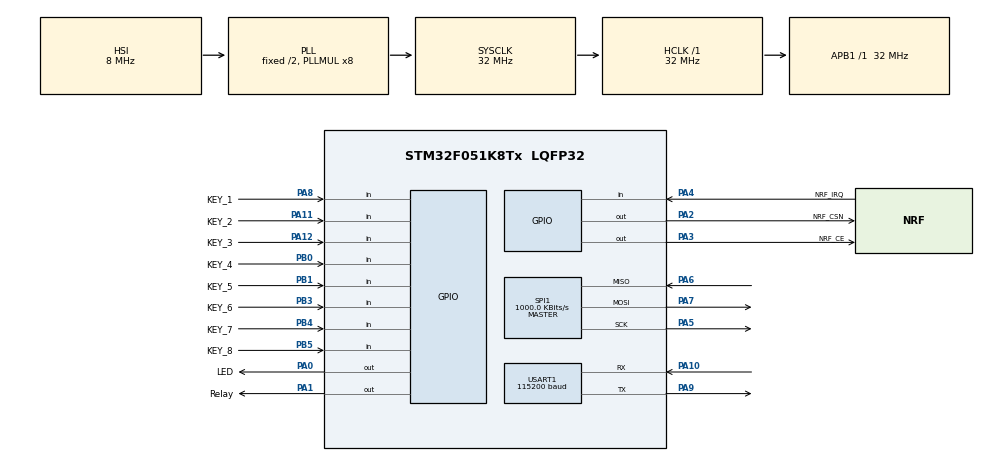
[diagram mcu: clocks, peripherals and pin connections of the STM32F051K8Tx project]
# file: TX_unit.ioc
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Mcu.Family=STM32F0
Mcu.Name=STM32F051K8Tx
Mcu.Package=LQFP32
PA0.GPIO_Label=LED
PA0.GPIO_PuPd=GPIO_PULLUP
PA0.Signal=GPIO_Output
PA1.GPIO_Label=Relay
PA1.GPIO_PuPd=GPIO_PULLUP
PA1.Signal=GPIO_Output
PA10.Mode=Asynchronous
PA10.Signal=USART1_RX
PA11.GPIO_Label=KEY_2
PA11.GPIO_PuPd=GPIO_PULLUP
PA11.Signal=GPIO_Input
PA12.GPIO_Label=KEY_3
PA12.GPIO_PuPd=GPIO_PULLUP
PA12.Signal=GPIO_Input
PA13.Mode=Serial_Wire
PA13.Signal=SYS_SWDIO
PA14.Mode=Serial_Wire
PA14.Signal=SYS_SWCLK
PA2.GPIO_Label=NRF_CSN
PA2.GPIO_PuPd=GPIO_NOPULL
PA2.Signal=GPIO_Output
PA3.GPIO_Label=NRF_CE
PA3.Signal=GPIO_Output
PA4.GPIO_Label=NRF_IRQ
PA4.Signal=GPIO_Input
PA5.Mode=Full_Duplex_Master
PA5.Signal=SPI1_SCK
PA6.Mode=Full_Duplex_Master
PA6.Signal=SPI1_MISO
PA7.Mode=Full_Duplex_Master
PA7.Signal=SPI1_MOSI
PA8.GPIO_Label=KEY_1
PA8.GPIO_PuPd=GPIO_PULLUP
PA8.Signal=GPIO_Input
PA9.Mode=Asynchronous
PA9.Signal=USART1_TX
PB0.GPIO_Label=KEY_4
PB0.GPIO_PuPd=GPIO_PULLUP
PB0.Signal=GPIO_Input
PB1.GPIO_Label=KEY_5
PB1.GPIO_PuPd=GPIO_PULLUP
PB1.Signal=GPIO_Input
PB3.GPIO_Label=KEY_6
PB3.GPIO_PuPd=GPIO_PULLUP
PB3.Signal=GPIO_Input
PB4.GPIO_Label=KEY_7
PB4.GPIO_PuPd=GPIO_PULLUP
PB4.Signal=GPIO_Input
PB5.GPIO_Label=KEY_8
PB5.GPIO_PuPd=GPIO_PULLUP
PB5.Signal=GPIO_Input
ProjectManager.HeapSize=0x200
ProjectManager.StackSize=0x400
ProjectManager.TargetToolchain=STM32CubeIDE
RCC.AHBFreq_Value=32000000
RCC.APB1Freq_Value=32000000
RCC.APB1TimFreq_Value=32000000
RCC.HCLKFreq_Value=32000000
RCC.PLLMUL=RCC_PLL_MUL8
RCC.SYSCLKFreq_VALUE=32000000
RCC.SYSCLKSource=RCC_SYSCLKSOURCE_PLLCLK
SPI1.BaudRatePrescaler=SPI_BAUDRATEPRESCALER_32
SPI1.CalculateBaudRate=1000.0 KBits/s
SPI1.DataSize=SPI_DATASIZE_8BIT
SPI1.Direction=SPI_DIRECTION_2LINES
SPI1.Mode=SPI_MODE_MASTER
SPI1.VirtualType=VM_MASTER
TIM14.Prescaler=31
USART1.BaudRate=115200
USART1.VirtualMode-Asynchronous=VM_ASYNC
VP_TIM14_VS_ClockSourceINT.Mode=Enable_Timer
board=custom

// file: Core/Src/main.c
/* USER CODE BEGIN Header */
/**
  ******************************************************************************
  * @file           : main.c
  * @brief          : Main program body
  ******************************************************************************
  * @attention
  *
  * Copyright (c) 2026 STMicroelectronics.
  * All rights reserved.
  *
  * This software is licensed under terms that can be found in the LICENSE file
  * in the root directory of this software component.
  * If no LICENSE file comes with this software, it is provided AS-IS.
  *
  ******************************************************************************
  */
/* USER CODE END Header */
#include "main.h"

/* USER CODE BEGIN Includes */
#include "nrf24.h"
#include <string.h>
#include "stdio.h"
/* USER CODE END Includes */

SPI_HandleTypeDef hspi1;

TIM_HandleTypeDef htim14;

UART_HandleTypeDef huart1;

/* USER CODE BEGIN PV */
char str1[64]={0};
uint8_t buf1[20]={"ER2SD"};
uint8_t tx_buf[1];
/* USER CODE END PV */

void SystemClock_Config(void);
static void MX_GPIO_Init(void);
static void MX_SPI1_Init(void);
static void MX_USART1_UART_Init(void);
static void MX_TIM14_Init(void);

int main(void)
{

  /* MCU Configuration--------------------------------------------------------*/

  /* Reset of all peripherals, Initializes the Flash interface and the Systick. */
  HAL_Init();

  /* Configure the system clock */
  SystemClock_Config();

  /* Initialize all configured peripherals */
  MX_GPIO_Init();
  MX_SPI1_Init();
  MX_USART1_UART_Init();
  MX_TIM14_Init();
  /* USER CODE BEGIN 2 */
  HAL_TIM_Base_Start(&htim14);
  NRF24_ini();
  /* USER CODE END 2 */

  /* Infinite loop */
  while (1)
  {

    /* USER CODE BEGIN 3 */
  	//HAL_Delay(1000);
  	//NRF24L01_Send(buf1);
  	    // -----------------------------------------
  	    // KEY_1
  	    // -----------------------------------------
  	    if(HAL_GPIO_ReadPin(KEY_1_GPIO_Port,KEY_1_Pin) == GPIO_PIN_RESET)
  	    {
  	        tx_buf[0] = 0x01;
  	        NRF24L01_Send(tx_buf);
  	        HAL_Delay(200);
  	    }
  	    // -----------------------------------------
  	    // KEY_2
  	    // -----------------------------------------
  	    if(HAL_GPIO_ReadPin(KEY_2_GPIO_Port,KEY_2_Pin) == GPIO_PIN_RESET)
  	    {
  	        tx_buf[0] = 0x02;
  	        NRF24L01_Send(tx_buf);
  	        HAL_Delay(200);
  	    }
  	    // -----------------------------------------
  	    // KEY_3
  	    // -----------------------------------------
  	    if(HAL_GPIO_ReadPin(KEY_3_GPIO_Port,KEY_3_Pin) == GPIO_PIN_RESET)
  	    {
  	        tx_buf[0] = 0x03;
  	        NRF24L01_Send(tx_buf);
  	        HAL_Delay(200);
  	    }
  	    // -----------------------------------------
  	    // KEY_4
  	    // -----------------------------------------
  	    if(HAL_GPIO_ReadPin(KEY_4_GPIO_Port,KEY_4_Pin) == GPIO_PIN_RESET)
  	    {
  	        tx_buf[0] = 0x04;
  	        NRF24L01_Send(tx_buf);
  	        HAL_Delay(200);
  	    }
  	    // -----------------------------------------
  	    // KEY_5
  	    // -----------------------------------------
  	    if(HAL_GPIO_ReadPin(KEY_5_GPIO_Port,KEY_5_Pin) == GPIO_PIN_RESET)
  	    {
  	        tx_buf[0] = 0x05;
  	        NRF24L01_Send(tx_buf);
  	        HAL_Delay(200);
  	    }
  	    // -----------------------------------------
  	    // KEY_6
  	    // -----------------------------------------
  	    if(HAL_GPIO_ReadPin(KEY_6_GPIO_Port,KEY_6_Pin) == GPIO_PIN_RESET)
  	    {
  	        tx_buf[0] = 0x06;
  	        NRF24L01_Send(tx_buf);
  	        HAL_Delay(200);
  	    }
  	    // -----------------------------------------
  	    // KEY_7
  	    // -----------------------------------------
  	    if(HAL_GPIO_ReadPin(KEY_7_GPIO_Port,KEY_7_Pin) == GPIO_PIN_RESET)
  	    {
  	        tx_buf[0] = 0x07;
  	        NRF24L01_Send(tx_buf);
  	        HAL_Delay(200);
  	    }
  	    // -----------------------------------------
  	    // KEY_8
  	    // -----------------------------------------
  	    if(HAL_GPIO_ReadPin(KEY_8_GPIO_Port,KEY_8_Pin) == GPIO_PIN_RESET)
  	    {
  	        tx_buf[0] = 0x08;
  	        NRF24L01_Send(tx_buf);
  	        HAL_Delay(200);
  	    }
  }
  /* USER CODE END 3 */
}

void SystemClock_Config(void)
{
  RCC_OscInitTypeDef RCC_OscInitStruct = {0};
  RCC_ClkInitTypeDef RCC_ClkInitStruct = {0};
  RCC_PeriphCLKInitTypeDef PeriphClkInit = {0};

  /** Initializes the RCC Oscillators according to the specified parameters
  * in the RCC_OscInitTypeDef structure.
  */
  RCC_OscInitStruct.OscillatorType = RCC_OSCILLATORTYPE_HSI;
  RCC_OscInitStruct.HSIState = RCC_HSI_ON;
  RCC_OscInitStruct.HSICalibrationValue = RCC_HSICALIBRATION_DEFAULT;
  RCC_OscInitStruct.PLL.PLLState = RCC_PLL_ON;
  RCC_OscInitStruct.PLL.PLLSource = RCC_PLLSOURCE_HSI;
  RCC_OscInitStruct.PLL.PLLMUL = RCC_PLL_MUL8;
  RCC_OscInitStruct.PLL.PREDIV = RCC_PREDIV_DIV1;
  if (HAL_RCC_OscConfig(&RCC_OscInitStruct) != HAL_OK)
  {
    Error_Handler();
  }

  /** Initializes the CPU, AHB and APB buses clocks
  */
  RCC_ClkInitStruct.ClockType = RCC_CLOCKTYPE_HCLK|RCC_CLOCKTYPE_SYSCLK
                              |RCC_CLOCKTYPE_PCLK1;
  RCC_ClkInitStruct.SYSCLKSource = RCC_SYSCLKSOURCE_PLLCLK;
  RCC_ClkInitStruct.AHBCLKDivider = RCC_SYSCLK_DIV1;
  RCC_ClkInitStruct.APB1CLKDivider = RCC_HCLK_DIV1;

  if (HAL_RCC_ClockConfig(&RCC_ClkInitStruct, FLASH_LATENCY_1) != HAL_OK)
  {
    Error_Handler();
  }
  PeriphClkInit.PeriphClockSelection = RCC_PERIPHCLK_USART1;
  PeriphClkInit.Usart1ClockSelection = RCC_USART1CLKSOURCE_PCLK1;
  if (HAL_RCCEx_PeriphCLKConfig(&PeriphClkInit) != HAL_OK)
  {
    Error_Handler();
  }
}

static void MX_SPI1_Init(void)
{

  /* SPI1 parameter configuration*/
  hspi1.Instance = SPI1;
  hspi1.Init.Mode = SPI_MODE_MASTER;
  hspi1.Init.Direction = SPI_DIRECTION_2LINES;
  hspi1.Init.DataSize = SPI_DATASIZE_8BIT;
  hspi1.Init.CLKPolarity = SPI_POLARITY_LOW;
  hspi1.Init.CLKPhase = SPI_PHASE_1EDGE;
  hspi1.Init.NSS = SPI_NSS_SOFT;
  hspi1.Init.BaudRatePrescaler = SPI_BAUDRATEPRESCALER_32;
  hspi1.Init.FirstBit = SPI_FIRSTBIT_MSB;
  hspi1.Init.TIMode = SPI_TIMODE_DISABLE;
  hspi1.Init.CRCCalculation = SPI_CRCCALCULATION_DISABLE;
  hspi1.Init.CRCPolynomial = 7;
  hspi1.Init.CRCLength = SPI_CRC_LENGTH_DATASIZE;
  hspi1.Init.NSSPMode = SPI_NSS_PULSE_ENABLE;
  if (HAL_SPI_Init(&hspi1) != HAL_OK)
  {
    Error_Handler();
  }

}

static void MX_TIM14_Init(void)
{

  htim14.Instance = TIM14;
  htim14.Init.Prescaler = 31;
  htim14.Init.CounterMode = TIM_COUNTERMODE_UP;
  htim14.Init.Period = 65535;
  htim14.Init.ClockDivision = TIM_CLOCKDIVISION_DIV1;
  htim14.Init.AutoReloadPreload = TIM_AUTORELOAD_PRELOAD_DISABLE;
  if (HAL_TIM_Base_Init(&htim14) != HAL_OK)
  {
    Error_Handler();
  }

}

static void MX_USART1_UART_Init(void)
{

  huart1.Instance = USART1;
  huart1.Init.BaudRate = 115200;
  huart1.Init.WordLength = UART_WORDLENGTH_8B;
  huart1.Init.StopBits = UART_STOPBITS_1;
  huart1.Init.Parity = UART_PARITY_NONE;
  huart1.Init.Mode = UART_MODE_TX_RX;
  huart1.Init.HwFlowCtl = UART_HWCONTROL_NONE;
  huart1.Init.OverSampling = UART_OVERSAMPLING_16;
  huart1.Init.OneBitSampling = UART_ONE_BIT_SAMPLE_DISABLE;
  huart1.AdvancedInit.AdvFeatureInit = UART_ADVFEATURE_NO_INIT;
  if (HAL_UART_Init(&huart1) != HAL_OK)
  {
    Error_Handler();
  }

}

static void MX_GPIO_Init(void)
{
  GPIO_InitTypeDef GPIO_InitStruct = {0};

  /* GPIO Ports Clock Enable */
  __HAL_RCC_GPIOA_CLK_ENABLE();
  __HAL_RCC_GPIOB_CLK_ENABLE();

  /*Configure GPIO pin Output Level */
  HAL_GPIO_WritePin(GPIOA, LED_Pin|Relay_Pin|NRF_CSN_Pin|NRF_CE_Pin, GPIO_PIN_RESET);

  /*Configure GPIO pins : LED_Pin Relay_Pin */
  GPIO_InitStruct.Pin = LED_Pin|Relay_Pin;
  GPIO_InitStruct.Mode = GPIO_MODE_OUTPUT_PP;
  GPIO_InitStruct.Pull = GPIO_PULLUP;
  GPIO_InitStruct.Speed = GPIO_SPEED_FREQ_LOW;
  HAL_GPIO_Init(GPIOA, &GPIO_InitStruct);

  /*Configure GPIO pins : NRF_CSN_Pin NRF_CE_Pin */
  GPIO_InitStruct.Pin = NRF_CSN_Pin|NRF_CE_Pin;
  GPIO_InitStruct.Mode = GPIO_MODE_OUTPUT_PP;
  GPIO_InitStruct.Pull = GPIO_NOPULL;
  GPIO_InitStruct.Speed = GPIO_SPEED_FREQ_LOW;
  HAL_GPIO_Init(GPIOA, &GPIO_InitStruct);

  /*Configure GPIO pin : NRF_IRQ_Pin */
  GPIO_InitStruct.Pin = NRF_IRQ_Pin;
  GPIO_InitStruct.Mode = GPIO_MODE_INPUT;
  GPIO_InitStruct.Pull = GPIO_NOPULL;
  HAL_GPIO_Init(NRF_IRQ_GPIO_Port, &GPIO_InitStruct);

  /*Configure GPIO pins : KEY_4_Pin KEY_5_Pin KEY_6_Pin KEY_7_Pin
                           KEY_8_Pin */
  GPIO_InitStruct.Pin = KEY_4_Pin|KEY_5_Pin|KEY_6_Pin|KEY_7_Pin
                          |KEY_8_Pin;
  GPIO_InitStruct.Mode = GPIO_MODE_INPUT;
  GPIO_InitStruct.Pull = GPIO_PULLUP;
  HAL_GPIO_Init(GPIOB, &GPIO_InitStruct);

  /*Configure GPIO pins : KEY_1_Pin KEY_2_Pin KEY_3_Pin */
  GPIO_InitStruct.Pin = KEY_1_Pin|KEY_2_Pin|KEY_3_Pin;
  GPIO_InitStruct.Mode = GPIO_MODE_INPUT;
  GPIO_InitStruct.Pull = GPIO_PULLUP;
  HAL_GPIO_Init(GPIOA, &GPIO_InitStruct);

}

void Error_Handler(void)
{
  __disable_irq();
  while (1)
  {
  }
}
